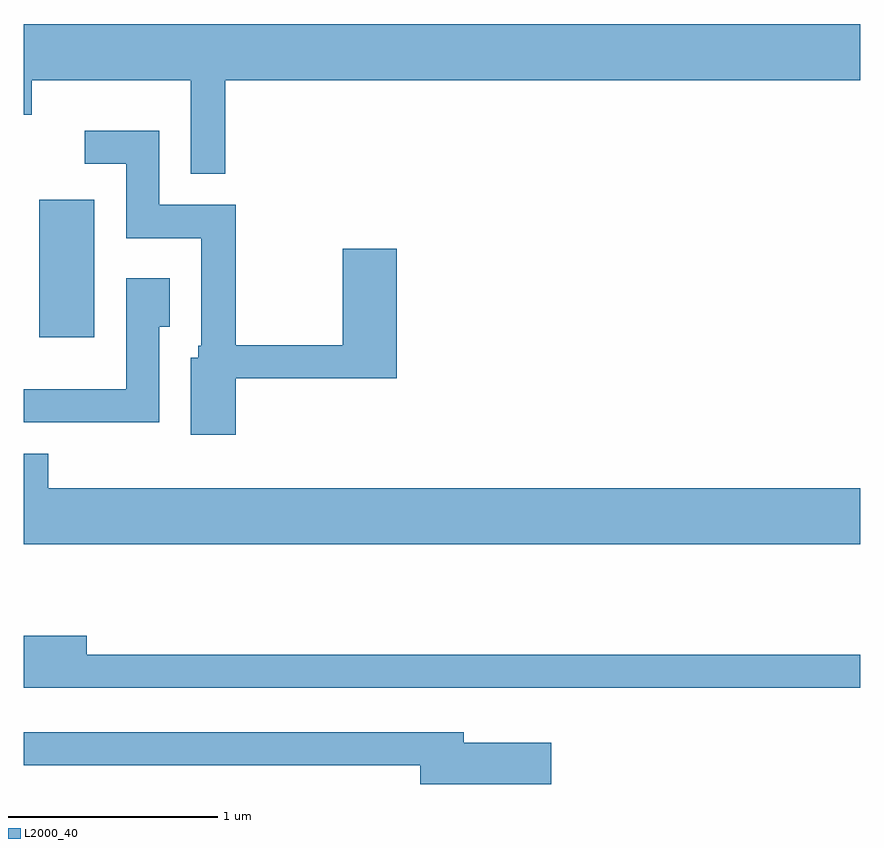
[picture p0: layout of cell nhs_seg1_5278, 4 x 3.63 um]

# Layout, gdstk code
import gdstk
lib = gdstk.Library(unit=1e-6, precision=1e-09)
def R(c, l, rs):  # rectangles x0, y0, x1, y1
    for r in rs: c.add(gdstk.rectangle(r[:2], r[2:], *l))
def P(c, l, *ps):  # polygons
    for p in ps: c.add(gdstk.Polygon(p, *l))
L2000_40 = (2000, 40)

nhs_seg1_5278 = lib.new_cell('nhs_seg1_5278')
R(nhs_seg1_5278, L2000_40, [(343.686,936.086,343.949,936.744)])
P(nhs_seg1_5278, L2000_40, [(344.574,937.316),(347.611,937.316),(347.611,937.584),(343.611,937.584),(343.611,937.151),(343.649,937.151),(343.649,937.316),(344.411,937.316),(344.411,936.868),(344.574,936.868)],
  [(344.624,935.891),(345.394,935.891),(345.394,936.509),(345.136,936.509),(345.136,936.049),(344.624,936.049),(344.624,936.719),(344.259,936.719),(344.259,937.074),(343.903,937.074),(343.903,936.916),(344.101,936.916),(344.101,936.561),(344.461,936.561),(344.461,936.045),(344.446,936.045),(344.446,935.989),(344.411,935.989),(344.411,935.621),(344.624,935.621)],
  [(344.259,936.136),(344.309,936.136),(344.309,936.369),(344.101,936.369),(344.101,935.839),(343.611,935.839),(343.611,935.681),(344.259,935.681)],
  [(347.611,935.364),(343.729,935.364),(343.729,935.529),(343.611,935.529),(343.611,935.096),(347.611,935.096)],
  [(347.611,934.569),(343.914,934.569),(343.914,934.659),(343.611,934.659),(343.611,934.411),(347.611,934.411)],
  [(346.134,934.149),(345.714,934.149),(345.714,934.199),(343.611,934.199),(343.611,934.041),(345.506,934.041),(345.506,933.951),(346.134,933.951)])

lib.write_gds('nhs_seg1_5278.gds')
